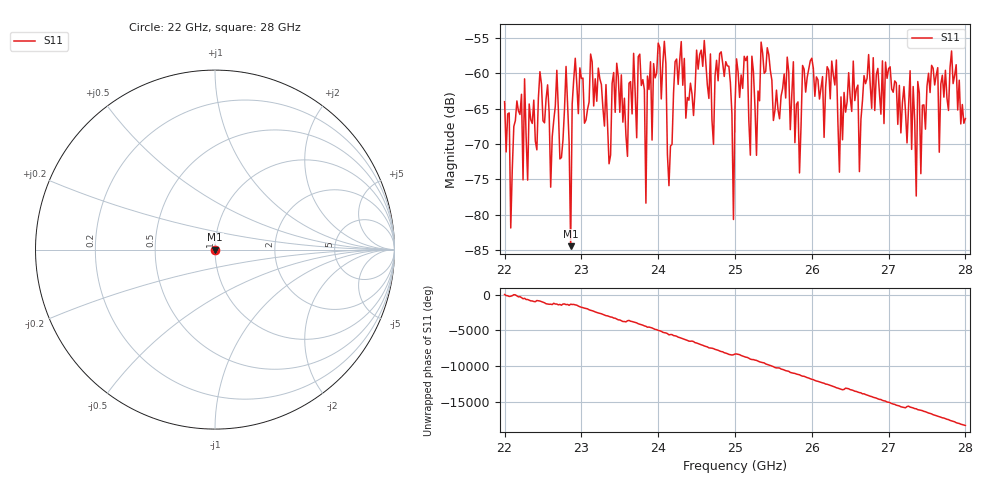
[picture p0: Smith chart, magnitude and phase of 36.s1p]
#  HZ  S  RI  R  50.00
! Rohde & Schwarz ZVA40 4Ports - Version 3.90 - 1145.1110k42 SN: 100403
! Date: 2023-10-04 11:32:36
! Measurement: S12
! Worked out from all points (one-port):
!   301 points, 22 GHz to 28 GHz, reference 50 ohm
!   lowest |S11| = -84.4 dB at 22.86 GHz (marker M1), VSWR 1.00, Z = 50 + j0.00596 ohm
!   |S11| at or under -10 dB: start of sweep to end of sweep
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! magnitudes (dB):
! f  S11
! 22 GHz  -64.0
! 22.08 GHz  -81.9
! 22.26 GHz  -60.8
! 22.3 GHz  -75.1
! 22.46 GHz  -59.8
! 22.76 GHz  -69.4
! 22.8 GHz  -59.0
! 22.86 GHz  -84.4
! 22.92 GHz  -57.9
! 23.5 GHz  -65.5
! 23.76 GHz  -57.3
! 23.84 GHz  -78.3
! 23.9 GHz  -58.4
! 24.08 GHz  -55.5
! 24.14 GHz  -75.9
! 24.26 GHz  -61.6
! 24.92 GHz  -59.0
! 24.98 GHz  -80.7
! 25 GHz  -64.7
! 25.76 GHz  -58.3
! 25.84 GHz  -74.1
! 25.88 GHz  -58.9
! 26.5 GHz  -63.4
! 27.26 GHz  -64.7
! 27.36 GHz  -77.3
! 27.38 GHz  -61.1
! 27.42 GHz  -74.2
! 28 GHz  -66.4
